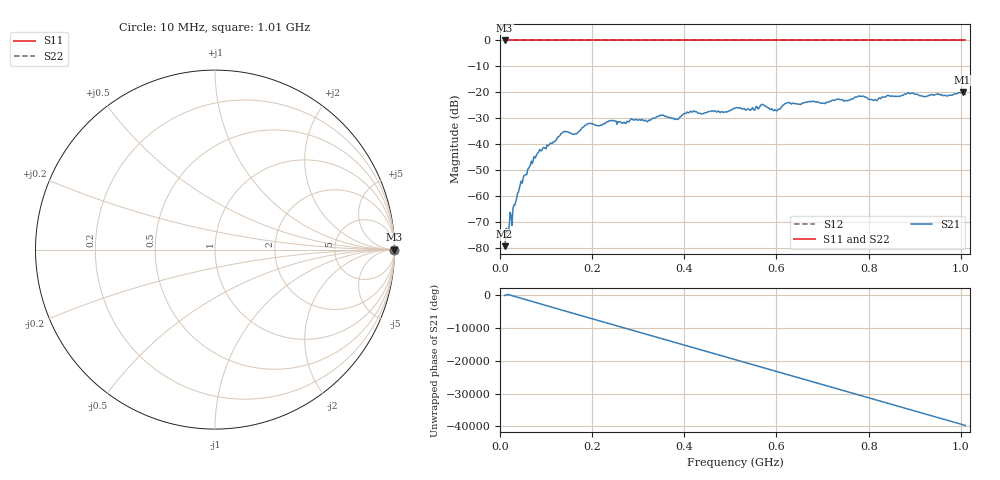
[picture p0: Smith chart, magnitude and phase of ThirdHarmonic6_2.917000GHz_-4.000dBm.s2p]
! 8/17/2025 8:06:19 AM
! C:\ANRITSUVNA\TEMP\TEMP.S2P
! CHANNEL.1
! TR.MEASUREMENT
! RAW.DATA
! RF.CORRECTION.OFF
! AVERAGING.OFF
! IF.BANDWIDTH: 5KHZ
! SWEEPTYPE:  FREQ.SWEEP(Linear)
! Reference Plane Port Info
! PORT:  PORT1  PORT2
! DISTANCE:  0  m  0  m
! TIME:  0  s  0  s
! PHASE.OFFSET:  0  deg.  0  deg.
! LOSS:  0  dB  0  dB
! REF.LOSS:  0  dB  0  dB
! REF.FREQ:  0  Hz  0  Hz
! Power Info
! POWER:  -20  dBm  -20  dBm
! EFF.POWER:  -20  dBm  -20  dBm
! SOURCE.ATTEN:  0  dB  0  dB
! TEST.ATTEN:  0  dB  0  dB
# GHZ S RI R 50.0
! FREQ.GHZ  S11RE  S11IM  S21RE  S21IM  S12RE  S12IM  S22RE  S22IM
!; PortSelection: Port_12
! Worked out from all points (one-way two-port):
!   501 points, 10 MHz to 1.01 GHz, reference 50 ohm
!   highest |S21| = -19.84 dB at 1.004 GHz (marker M1); lowest = -79.3 dB at 10 MHz (marker M2)
!   lowest |S11| = 0.0 dB at 10 MHz (marker M3)
!   |S11| at or under -10 dB: nowhere
!   |S22| runs from 0.0 to 0.0 dB; largest |S21 - S12| = 1.1
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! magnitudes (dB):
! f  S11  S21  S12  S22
! 10 MHz  0.0  -79.3  0.0  0.0
! 42 MHz  0.0  -56.9  0.0  0.0
! 78 MHz  0.0  -44.8  0.0  0.0
! 136 MHz  0.0  -35.5  0.0  0.0
! 162 MHz  0.0  -36.0  0.0  0.0
! 178 MHz  0.0  -33.6  0.0  0.0
! 194 MHz  0.0  -32.0  0.0  0.0
! 322 MHz  0.0  -31.0  0.0  0.0
! 344 MHz  0.0  -29.3  0.0  0.0
! 384 MHz  0.0  -30.3  0.0  0.0
! 410 MHz  0.0  -27.9  0.0  0.0
! 510 MHz  0.0  -26.1  0.0  0.0
! 548 MHz  0.0  -25.9  0.0  0.0
! 570 MHz  0.0  -24.6  0.0  0.0
! 598 MHz  0.0  -26.9  0.0  0.0
! 622 MHz  0.0  -24.2  0.0  0.0
! 678 MHz  0.0  -23.6  0.0  0.0
! 782 MHz  0.0  -21.5  0.0  0.0
! 814 MHz  0.0  -22.8  0.0  0.0
! 844 MHz  0.0  -21.3  0.0  0.0
! 1.004 GHz  0.0  -19.8  0.0  0.0
! 1.01 GHz  0.0  -20.8  0.0  0.0
